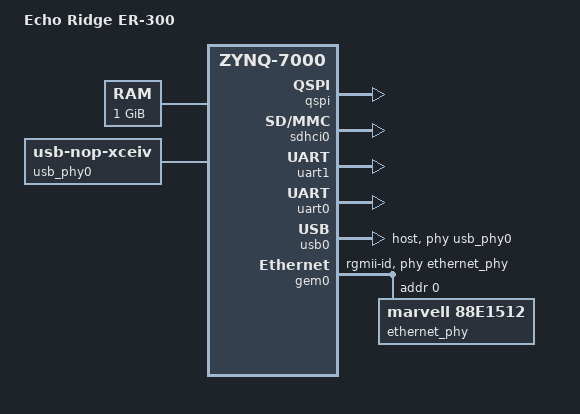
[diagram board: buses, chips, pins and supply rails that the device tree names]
/*
 * Echo Ridge ER-300 DTS
 *
 *  Copyright (C) 2011 - 2015 Xilinx
 *  Copyright (C) 2012 National Instruments Corp.
 *
 * SPDX-License-Identifier:	GPL-2.0+
 */
/dts-v1/;
#include "zynq-7000.dtsi"

/ {
	model = "Echo Ridge ER-300";
	compatible = "xlnx,zynq-er300", "xlnx,zynq-7000";

	aliases {
		ethernet0 = &gem0;
		serial0 = &uart0;
		serial1 = &uart1;
		spi0 = &qspi;
		mmc0 = &sdhci0;
	};

	memory@0 {
		device_type = "memory";
		reg = <0x0 0x40000000>;
	};

	chosen {
		bootargs = "";
		stdout-path = "serial0:115200n8";
	};

	usb_phy0: phy0 {
		compatible = "usb-nop-xceiv";
		#phy-cells = <0>;
	};
};

&clkc {
	ps-clk-frequency = <33333333>;
};

&qspi {
	u-boot,dm-pre-reloc;
	status = "okay";
};

&sdhci0 {
	u-boot,dm-pre-reloc;
	status = "okay";
};

&uart1 {
	u-boot,dm-pre-reloc;
	status = "okay";
};

&uart0 {
	u-boot,dm-pre-reloc;
	status = "okay";
};

&usb0 {
	status = "okay";
	dr_mode = "host";
	usb-phy = <&usb_phy0>;
};

&gem0 {
	status = "okay";
	phy-mode = "rgmii-id";
	phy-handle = <&ethernet_phy>;
	phy-reset-gpio = <&gpio0 51 0>;
	phy-reset-active-low;

	ethernet_phy: ethernet-phy@0 {
		compatible = "marvell,88e1512";
		device_type = "ethernet-phy";
		reg = <0>;
	};
};

